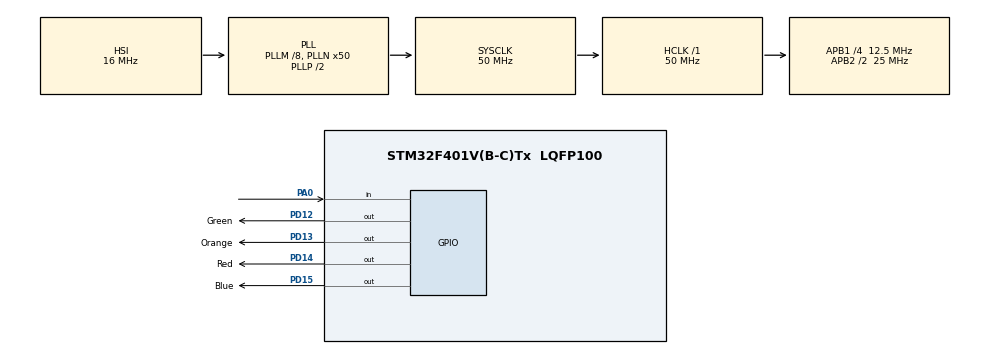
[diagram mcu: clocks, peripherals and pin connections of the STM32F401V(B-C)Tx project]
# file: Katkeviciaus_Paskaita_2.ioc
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Mcu.Family=STM32F4
Mcu.Name=STM32F401V(B-C)Tx
Mcu.Package=LQFP100
NVIC.PriorityGroup=NVIC_PRIORITYGROUP_0
PA0-WKUP.Signal=GPIO_Input
PD12.GPIO_Label=Green
PD12.Signal=GPIO_Output
PD13.GPIO_Label=Orange
PD13.Signal=GPIO_Output
PD14.GPIO_Label=Red
PD14.Signal=GPIO_Output
PD15.GPIO_Label=Blue
PD15.Signal=GPIO_Output
ProjectManager.HeapSize=0x200
ProjectManager.StackSize=0x400
ProjectManager.TargetToolchain=STM32CubeIDE
RCC.48MHZClocksFreq_Value=14285714.285714285
RCC.AHBFreq_Value=50000000
RCC.APB1CLKDivider=RCC_HCLK_DIV4
RCC.APB1Freq_Value=12500000
RCC.APB1TimFreq_Value=25000000
RCC.APB2CLKDivider=RCC_HCLK_DIV2
RCC.APB2Freq_Value=25000000
RCC.APB2TimFreq_Value=50000000
RCC.CortexFreq_Value=50000000
RCC.HCLKFreq_Value=50000000
RCC.HSE_VALUE=8000000
RCC.HSI_VALUE=16000000
RCC.PLLM=8
RCC.PLLN=50
RCC.PLLQ=7
RCC.SYSCLKFreq_VALUE=50000000
RCC.SYSCLKSource=RCC_SYSCLKSOURCE_PLLCLK
RCC.VCOOutputFreq_Value=100000000
board=STM32F401C-DISCO

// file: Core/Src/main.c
/* USER CODE BEGIN Header */
/**
  ******************************************************************************
  * @file           : main.c
  * @brief          : Main program body
  ******************************************************************************
  * @attention
  *
  * Copyright (c) 2024 STMicroelectronics.
  * All rights reserved.
  *
  * This software is licensed under terms that can be found in the LICENSE file
  * in the root directory of this software component.
  * If no LICENSE file comes with this software, it is provided AS-IS.
  *
  ******************************************************************************
  */
/* USER CODE END Header */
#include "main.h"

void SystemClock_Config(void);
static void MX_GPIO_Init(void);

int main(void)
{

  /* MCU Configuration--------------------------------------------------------*/

  /* Reset of all peripherals, Initializes the Flash interface and the Systick. */
  HAL_Init();

  /* Configure the system clock */
  SystemClock_Config();

  /* Initialize all configured peripherals */
  MX_GPIO_Init();
  /* USER CODE BEGIN 2 */
  int Task = 3;
  int Freq = 1000;
  /* USER CODE END 2 */

  /* Infinite loop */
  while (1)
  {

    /* USER CODE BEGIN 3 */
	// zalias 12 oranzinis 13 raudonas 14 melynas 15
	if(Task == 1){
		HAL_Delay(1000);
		HAL_GPIO_TogglePin(GPIOD, GPIO_PIN_15);
		HAL_Delay(1000);
		HAL_GPIO_TogglePin(GPIOD, GPIO_PIN_12);
		HAL_Delay(1000);
		HAL_GPIO_TogglePin(GPIOD, GPIO_PIN_12);
		HAL_GPIO_TogglePin(GPIOD, GPIO_PIN_15);
	}
	if(Task == 2){
		HAL_GPIO_TogglePin(GPIOD, GPIO_PIN_14);
		HAL_Delay(1000);
		HAL_GPIO_TogglePin(GPIOD, GPIO_PIN_14);
		HAL_Delay(1000);
		HAL_GPIO_TogglePin(GPIOD, GPIO_PIN_14);
		HAL_Delay(1000);
		HAL_GPIO_TogglePin(GPIOD, GPIO_PIN_14);
		HAL_GPIO_TogglePin(GPIOD, GPIO_PIN_13);
		HAL_Delay(1000);
	}
	if(Task == 3){
		if (HAL_GPIO_ReadPin(GPIOA, GPIO_PIN_0)){
			HAL_GPIO_WritePin(GPIOD, GPIO_PIN_15, GPIO_PIN_SET);
			HAL_GPIO_WritePin(GPIOD, GPIO_PIN_15, GPIO_PIN_RESET);
		}
	}
	if(Task == 4){
		HAL_GPIO_TogglePin(GPIOD, GPIO_PIN_13);
		if(HAL_GPIO_ReadPin(GPIOA, GPIO_PIN_0)){
			Freq+=500;
		}
		HAL_Delay(Freq);
	}
  }
  /* USER CODE END 3 */
}

void SystemClock_Config(void)
{
  RCC_OscInitTypeDef RCC_OscInitStruct = {0};
  RCC_ClkInitTypeDef RCC_ClkInitStruct = {0};

  /** Configure the main internal regulator output voltage
  */
  __HAL_RCC_PWR_CLK_ENABLE();
  __HAL_PWR_VOLTAGESCALING_CONFIG(PWR_REGULATOR_VOLTAGE_SCALE2);

  /** Initializes the RCC Oscillators according to the specified parameters
  * in the RCC_OscInitTypeDef structure.
  */
  RCC_OscInitStruct.OscillatorType = RCC_OSCILLATORTYPE_HSI;
  RCC_OscInitStruct.HSIState = RCC_HSI_ON;
  RCC_OscInitStruct.HSICalibrationValue = RCC_HSICALIBRATION_DEFAULT;
  RCC_OscInitStruct.PLL.PLLState = RCC_PLL_ON;
  RCC_OscInitStruct.PLL.PLLSource = RCC_PLLSOURCE_HSI;
  RCC_OscInitStruct.PLL.PLLM = 8;
  RCC_OscInitStruct.PLL.PLLN = 50;
  RCC_OscInitStruct.PLL.PLLP = RCC_PLLP_DIV2;
  RCC_OscInitStruct.PLL.PLLQ = 7;
  if (HAL_RCC_OscConfig(&RCC_OscInitStruct) != HAL_OK)
  {
    Error_Handler();
  }

  /** Initializes the CPU, AHB and APB buses clocks
  */
  RCC_ClkInitStruct.ClockType = RCC_CLOCKTYPE_HCLK|RCC_CLOCKTYPE_SYSCLK
                              |RCC_CLOCKTYPE_PCLK1|RCC_CLOCKTYPE_PCLK2;
  RCC_ClkInitStruct.SYSCLKSource = RCC_SYSCLKSOURCE_PLLCLK;
  RCC_ClkInitStruct.AHBCLKDivider = RCC_SYSCLK_DIV1;
  RCC_ClkInitStruct.APB1CLKDivider = RCC_HCLK_DIV4;
  RCC_ClkInitStruct.APB2CLKDivider = RCC_HCLK_DIV2;

  if (HAL_RCC_ClockConfig(&RCC_ClkInitStruct, FLASH_LATENCY_1) != HAL_OK)
  {
    Error_Handler();
  }
}

static void MX_GPIO_Init(void)
{
  GPIO_InitTypeDef GPIO_InitStruct = {0};

  /* GPIO Ports Clock Enable */
  __HAL_RCC_GPIOA_CLK_ENABLE();
  __HAL_RCC_GPIOD_CLK_ENABLE();
//  RCC->AHB1ENR = 0x0009;

  /*Configure GPIO pin Output Level */
  HAL_GPIO_WritePin(GPIOD, Green_Pin|Orange_Pin|Red_Pin|Blue_Pin, GPIO_PIN_RESET);

  /*Configure GPIO pin : PA0 */
  GPIO_InitStruct.Pin = GPIO_PIN_0;
  GPIO_InitStruct.Mode = GPIO_MODE_INPUT;
  GPIO_InitStruct.Pull = GPIO_NOPULL;
  HAL_GPIO_Init(GPIOA, &GPIO_InitStruct);
//
//  	GPIOD->ODR = 0x00000000;
//  	GPIOD->MODER = 0x55000000;
//  	GPIOD->OTYPER = 0x00000000U;
//  	GPIOD->PUPDR = 0x00000000U;
//  	GPIOD->OSPEEDR = 0x00000003U;
  /*Configure GPIO pins : Green_Pin Orange_Pin Red_Pin Blue_Pin */
  GPIO_InitStruct.Pin = Green_Pin|Orange_Pin|Red_Pin|Blue_Pin;
  GPIO_InitStruct.Mode = GPIO_MODE_OUTPUT_PP;
  GPIO_InitStruct.Pull = GPIO_NOPULL;
  GPIO_InitStruct.Speed = GPIO_SPEED_FREQ_LOW;
  HAL_GPIO_Init(GPIOD, &GPIO_InitStruct);
//  	GPIOA->ODR = 0x00000000;
//  	GPIOD->OTYPER = 0x00000000U;
//  	GPIOA->PUPDR = 0x00000002U;
//  	GPIOD->OSPEEDR = 0x00000001U;

}

void Error_Handler(void)
{
  __disable_irq();
  while (1)
  {
  }
}
